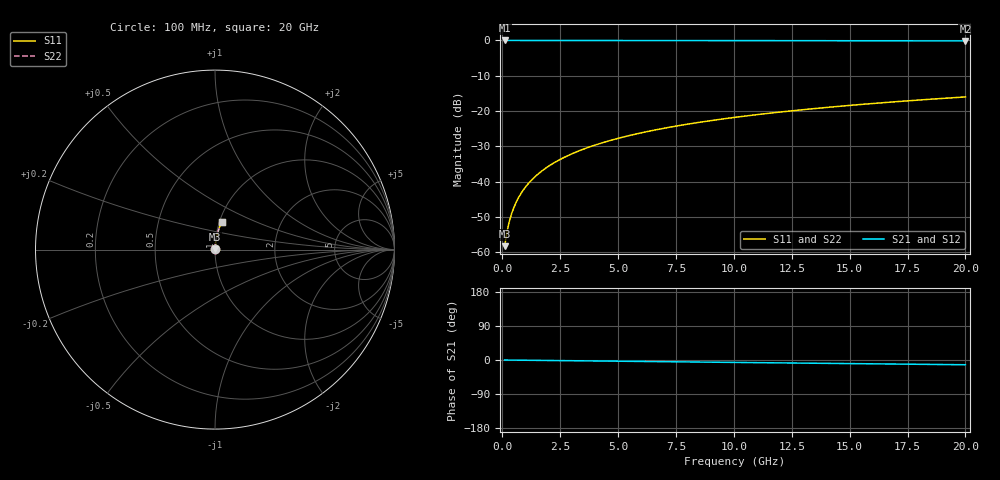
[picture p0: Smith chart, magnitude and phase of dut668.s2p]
! Touchstone file exported from HFSS 2026.1.0
!  File:  C:/ffzhzh/LocalFiles/Ansys_Project_Files/temp_train_TMRDL_668_1783009862_55676.aedt
!  Generated:  12:32:27 AM Jul  3, 2026
!  Design:  TMRDL
!  Project:  temp_train_TMRDL_668_1783009862_55676
! Variables:
!  h_bsmrdl = 2um
!  h_ox = 20um
!  h_rdl = 5um
!  h_sub = 80um
!  h_tmrdl = 3.87um
!  h_tsv = 80um
!  h_via = 3um
!  l_bsmrdl = 300um
!  l_sub = 515.85um
!  l_tmrdl = 115.85um
!  m_sub = 200um
!  pitch = 52.89um
!  r_tsv = 6um
!  s_tmrdl = 10um
!  w_bsmrdl = 18um
!  w_sub = 500um
!  w_tmrdl = 15um
!  x_tsv_center1 = 123.35um
!  x_tsv_center2 = 441.35um
!  x_tsv_center3 = 572.2um
!  x_tsv_center4 = 890.2um
!  x_tsv_center5 = 1021.05um
!  x_tsv_center6 = 1339.05um
# GHz S MA R 50.000000
! Terminal data exported
! Port[1] = TM_RDL1_1_T1
! Port[2] = TM_RDL1_1_T2
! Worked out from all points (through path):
!   200 points, 100 MHz to 20 GHz, reference 50 ohm
!   highest |S21| = -0.01 dB at 100 MHz (marker M1); lowest = -0.1 dB at 20 GHz (marker M2)
!   group delay of S21, straight-line fit = 1.74 ps
!   lowest |S11| = -58.2 dB at 100 MHz (marker M3), VSWR 1.00, Z = 50.1 + j0.0863 ohm
!   |S11| at or under -10 dB: start of sweep to end of sweep
!   |S22| runs from -58.2 to -16.0 dB; largest |S21 - S12| = 3.1e-15
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0.1  0.001229 44.5  0.9991 -0.1  0.9991 -0.1  0.001229 44.5
! Gamma 0 0 0 0
! Port Impedance 50 0 50 0
0.2  0.001936 62.4  0.9991 -0.1  0.9991 -0.1  0.001936 62.4
0.3  0.002721 70.1  0.9991 -0.2  0.9991 -0.2  0.002721 70.1
0.4  0.003524 74.2  0.9991 -0.3  0.9991 -0.3  0.003524 74.2
0.5  0.004333 76.9  0.999 -0.3  0.999 -0.3  0.004333 76.9
0.6  0.005145 78.6  0.999 -0.4  0.999 -0.4  0.005145 78.6
0.8  0.006774 81.0  0.999 -0.5  0.999 -0.5  0.006774 81.0
1.1  0.00923 82.9  0.9989 -0.7  0.9989 -0.7  0.00923 82.9
1.5  0.01252 84.1  0.9988 -1.0  0.9988 -1.0  0.01252 84.1
1.8  0.01498 84.6  0.9988 -1.2  0.9988 -1.2  0.01498 84.6
2.1  0.01745 84.9  0.9987 -1.4  0.9987 -1.4  0.01745 84.9
2.7  0.02239 85.2  0.9986 -1.7  0.9986 -1.7  0.02239 85.2
3.5  0.02895 85.2  0.9983 -2.3  0.9983 -2.3  0.02895 85.2
4.2  0.03467 85.0  0.998 -2.7  0.998 -2.7  0.03467 85.0
5  0.04119 84.7  0.9976 -3.2  0.9976 -3.2  0.04119 84.7
5.9  0.04849 84.2  0.9972 -3.8  0.9972 -3.8  0.04849 84.2
6.8  0.05575 83.8  0.9966 -4.4  0.9966 -4.4  0.05575 83.8
8.3  0.06777 83.0  0.9956 -5.3  0.9956 -5.3  0.06777 82.9
10.1  0.08208 81.9  0.9943 -6.4  0.9943 -6.4  0.08208 81.9
13.4  0.108 80.0  0.9914 -8.5  0.9914 -8.5  0.108 80.0
16.7  0.1336 78.1  0.9879 -10.5  0.9879 -10.5  0.1336 78.1
20  0.1588 76.2  0.9839 -12.6  0.9839 -12.6  0.1588 76.2
